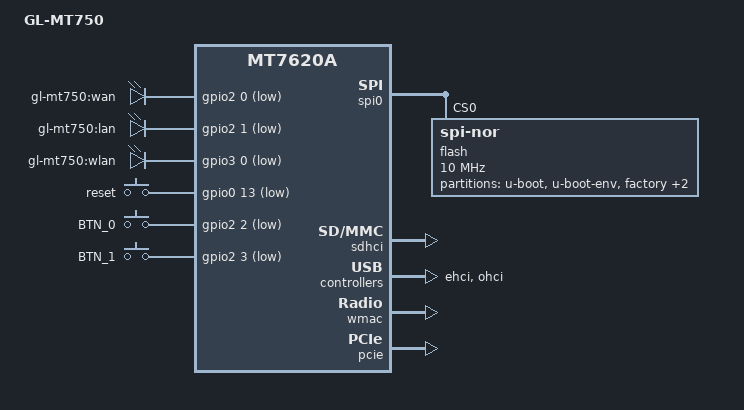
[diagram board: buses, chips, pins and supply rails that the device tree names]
#include "mt7620a.dtsi"

#include <dt-bindings/gpio/gpio.h>
#include <dt-bindings/input/input.h>

/ {
	compatible = "glinet,gl-mt750", "ralink,mt7620a-soc";
	model = "GL-MT750";

	aliases {
		label-mac-device = &wmac;
	};

	chosen {
		bootargs = "console=ttyS0,115200";
	};

	leds {
		compatible = "gpio-leds";

		wan {
			label = "gl-mt750:wan";
			gpios = <&gpio2 0 GPIO_ACTIVE_LOW>;
		};

		lan {
			label = "gl-mt750:lan";
			gpios = <&gpio2 1 GPIO_ACTIVE_LOW>;
		};

		wlan {
			label = "gl-mt750:wlan";
			gpios = <&gpio3 0 GPIO_ACTIVE_LOW>;
		};
	};

	keys {
		compatible = "gpio-keys";

		reset {
			label = "reset";
			gpios = <&gpio0 13 GPIO_ACTIVE_LOW>;
			linux,code = <KEY_RESTART>;
		};

		BTN_0 {
			label = "BTN_0";
			gpios = <&gpio2 2 GPIO_ACTIVE_LOW>;
			linux,code = <BTN_0>;
		};

		BTN_1 {
			label = "BTN_1";
			gpios = <&gpio2 3 GPIO_ACTIVE_LOW>;
			linux,code = <BTN_1>;
		};
	};
};

&gpio2 {
	status = "okay";
};

&gpio3 {
	status = "okay";
};

&spi0 {
	status = "okay";

	flash@0 {
		compatible = "jedec,spi-nor";
		reg = <0>;
		spi-max-frequency = <10000000>;

		partitions {
			compatible = "fixed-partitions";
			#address-cells = <1>;
			#size-cells = <1>;

			partition@0 {
				label = "u-boot";
				reg = <0x0 0x30000>;
			};

			partition@30000 {
				label = "u-boot-env";
				reg = <0x30000 0x10000>;
				read-only;
			};

			factory: partition@40000 {
				label = "factory";
				reg = <0x40000 0x10000>;
				read-only;
			};

			partition@50000 {
				compatible = "denx,uimage";
				label = "firmware";
				reg = <0x50000 0xf80000>;
			};

			partition@ff0000 {
				label = "art";
				reg = <0xff0000 0x10000>;
			};
		};
	};
};

&sdhci {
	status = "okay";
};

&ehci {
	status = "okay";
};

&ohci {
	status = "okay";
};

&ethernet {
	nvmem-cells = <&macaddr_factory_4000>;
	nvmem-cell-names = "mac-address";

	mediatek,portmap = "wllll";
};

&wmac {
	ralink,mtd-eeprom = <&factory 0x0>;
};

&pcie {
	status = "okay";
};

&pcie0 {
	mt76@0,0 {
		reg = <0x0000 0 0 0 0>;
		mediatek,mtd-eeprom = <&factory 0x8000>;
	};
};

&state_default {
	gpio {
		groups = "wled","ephy","uartf";
		function = "gpio";
	};
};

&factory {
	compatible = "nvmem-cells";
	#address-cells = <1>;
	#size-cells = <1>;

	macaddr_factory_4000: macaddr@4000 {
		reg = <0x4000 0x6>;
	};
};
